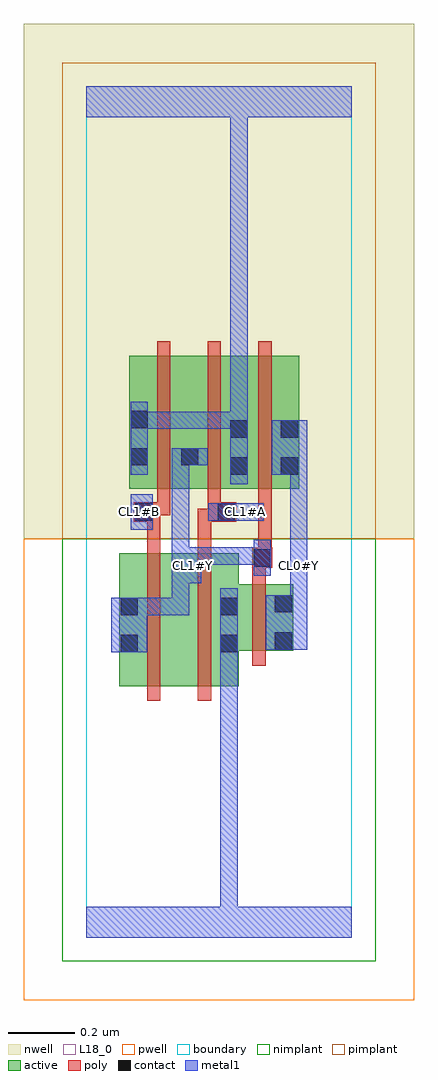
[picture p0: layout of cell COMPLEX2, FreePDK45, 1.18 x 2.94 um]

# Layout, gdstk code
import gdstk
lib = gdstk.Library(unit=1e-6, precision=1e-09)
def R(c, l, rs):  # rectangles x0, y0, x1, y1
    for r in rs: c.add(gdstk.rectangle(r[:2], r[2:], *l))
def A(c, l, x, y, w, h, nx, ny, dx, dy):  # array of equal rectangles
    R(c, l, [(x+i*dx, y+j*dy, x+i*dx+w, y+j*dy+h) for i in range(nx) for j in range(ny)])
active = (1, 0)
pwell = (2, 0)
nwell = (3, 0)
nimplant = (4, 0)
pimplant = (5, 0)
poly = (9, 0)
contact = (10, 0)
metal1 = (11, 0)
L18_0 = (18, 0)
boundary = (235, 0)

complex2 = lib.new_cell('COMPLEX2')
R(complex2, active, [(0.1,0.756,0.28,1.156), (0.1,0.756,0.16,1.156), (0.28,0.756,0.46,1.156), (0.4,0.756,0.46,1.026), (0.4,0.862,0.624,1.062), (0.564,0.862,0.624,1.062), (0.13,1.35,0.19,1.644), (0.13,1.35,0.342,1.75), (0.282,1.35,0.49,1.75), (0.43,1.35,0.49,1.644), (0.43,1.35,0.642,1.75), (0.582,1.35,0.642,1.644), (0.282,1.416,0.342,1.644)])
R(complex2, pwell, [(-0.188,-0.188,0.988,1.2)])
R(complex2, nwell, [(-0.188,1.2,0.988,2.748)])
R(complex2, nimplant, [(-0.072,-0.072,0.872,1.2)])
R(complex2, pimplant, [(-0.072,1.2,0.872,2.632)])
A(complex2, poly, 0.214, 1.306, 0.04, 0.488, 3, 1, 0.152, 0)
R(complex2, poly, [(0.184,0.712,0.224,1.2), (0.336,0.712,0.376,1.2), (0.5,0.818,0.54,1.106), (0.5,1.066,0.54,1.152), (0.5,1.112,0.56,1.172), (0.518,1.132,0.558,1.346), (0.518,1.132,0.558,1.172), (0.518,1.132,0.558,1.172), (0.184,1.16,0.224,1.29), (0.336,1.16,0.376,1.29), (0.144,1.25,0.224,1.31), (0.336,1.25,0.406,1.29), (0.366,1.25,0.406,1.29), (0.366,1.25,0.452,1.31), (0.184,1.27,0.224,1.31), (0.184,1.27,0.254,1.31), (0.214,1.27,0.254,1.346), (0.366,1.27,0.406,1.346)])
R(complex2, contact, [(0.104,0.858,0.156,0.91), (0.404,0.858,0.456,0.91), (0.568,0.866,0.62,0.918), (0.104,0.97,0.156,1.022), (0.404,0.97,0.456,1.022), (0.568,0.978,0.62,1.03), (0.504,1.116,0.556,1.168), (0.148,1.254,0.2,1.306), (0.396,1.254,0.448,1.306), (0.434,1.392,0.486,1.444), (0.586,1.392,0.638,1.444), (0.134,1.42,0.186,1.472), (0.286,1.42,0.338,1.472), (0.434,1.504,0.486,1.556), (0.586,1.504,0.638,1.556), (0.134,1.532,0.186,1.584)])
R(complex2, metal1, [(0,0,0.8,0.092), (0.404,0.04,0.456,0.092), (0.404,0.04,0.456,0.092), (0.404,0.04,0.456,0.882), (0.404,0.83,0.456,0.882), (0.404,0.83,0.456,0.882), (0.404,0.83,0.456,0.882), (0.404,0.83,0.456,0.882), (0.404,0.83,0.456,0.882), (0.404,0.83,0.456,0.882), (0.404,0.83,0.456,0.882), (0.404,0.83,0.456,0.882), (0.404,0.83,0.456,0.882), (0.404,0.83,0.456,0.882), (0.404,0.83,0.456,1.05), (0.076,0.858,0.184,1.022), (0.54,0.866,0.666,1.03), (0.132,0.97,0.31,1.022), (0.258,0.97,0.31,1.022), (0.258,0.97,0.31,1.022), (0.258,0.97,0.31,1.022), (0.258,0.97,0.31,1.118), (0.614,0.978,0.666,1.118), (0.258,1.066,0.346,1.174), (0.614,1.066,0.666,1.174), (0.504,1.088,0.556,1.196), (0.258,1.122,0.31,1.174), (0.258,1.122,0.31,1.174), (0.258,1.122,0.31,1.472), (0.294,1.122,0.42,1.174), (0.368,1.122,0.42,1.174), (0.368,1.122,0.456,1.174), (0.404,1.122,0.456,1.174), (0.404,1.122,0.556,1.174), (0.614,1.122,0.666,1.444), (0.134,1.226,0.2,1.334), (0.368,1.254,0.534,1.306), (0.434,1.364,0.486,1.584), (0.134,1.392,0.186,1.612), (0.558,1.392,0.666,1.556), (0.614,1.392,0.666,1.444), (0.614,1.392,0.666,1.444), (0.258,1.42,0.366,1.472), (0.134,1.53,0.186,1.582), (0.134,1.53,0.186,1.582), (0.134,1.53,0.346,1.582), (0.294,1.53,0.346,1.582), (0.294,1.53,0.42,1.582), (0.368,1.53,0.42,1.582), (0.368,1.53,0.486,1.582), (0.434,1.532,0.486,1.584), (0.434,1.532,0.486,1.584), (0.434,1.532,0.486,1.584), (0.434,1.532,0.486,1.584), (0.434,1.532,0.486,1.584), (0.434,1.532,0.486,1.584), (0.434,1.532,0.486,1.584), (0.434,1.532,0.486,1.584), (0.434,1.532,0.486,1.584), (0.434,1.532,0.486,1.584), (0.434,1.532,0.486,1.584), (0.434,1.532,0.486,1.584), (0.434,1.532,0.486,1.584), (0.434,1.532,0.486,1.584), (0.434,1.532,0.486,2.52), (0,2.468,0.8,2.56), (0.434,2.468,0.486,2.52), (0.434,2.468,0.486,2.52)])
R(complex2, L18_0, [(0,0,0.8,0.092), (0.404,0.04,0.456,0.092), (0.404,0.04,0.456,0.092), (0.404,0.04,0.456,0.882), (0.404,0.83,0.456,1.05), (0.404,0.83,0.456,0.882), (0.404,0.83,0.456,0.882), (0.404,0.83,0.456,0.882), (0.404,0.83,0.456,0.882), (0.404,0.83,0.456,0.882), (0.404,0.83,0.456,0.882), (0.404,0.83,0.456,0.882), (0.404,0.83,0.456,0.882), (0.404,0.83,0.456,0.882), (0.404,0.83,0.456,0.882), (0.076,0.858,0.184,1.022), (0.54,0.866,0.666,1.03), (0.132,0.97,0.31,1.022), (0.258,0.97,0.31,1.022), (0.258,0.97,0.31,1.022), (0.258,0.97,0.31,1.022), (0.258,0.97,0.31,1.118), (0.614,0.978,0.666,1.118), (0.258,1.066,0.346,1.174), (0.614,1.066,0.666,1.174), (0.504,1.088,0.556,1.196), (0.294,1.094,0.346,1.146), (0.614,1.094,0.666,1.146), (0.258,1.122,0.31,1.174), (0.258,1.122,0.31,1.174), (0.258,1.122,0.31,1.472), (0.294,1.122,0.42,1.174), (0.368,1.122,0.42,1.174), (0.368,1.122,0.456,1.174), (0.404,1.122,0.456,1.174), (0.404,1.122,0.556,1.174), (0.614,1.122,0.666,1.444), (0.134,1.226,0.2,1.334), (0.134,1.254,0.186,1.306), (0.368,1.254,0.534,1.306), (0.454,1.254,0.506,1.306), (0.434,1.364,0.486,1.584), (0.134,1.392,0.186,1.612), (0.558,1.392,0.666,1.556), (0.614,1.392,0.666,1.444), (0.614,1.392,0.666,1.444), (0.258,1.42,0.366,1.472), (0.134,1.53,0.186,1.582), (0.134,1.53,0.186,1.582), (0.134,1.53,0.346,1.582), (0.294,1.53,0.346,1.582), (0.294,1.53,0.42,1.582), (0.368,1.53,0.42,1.582), (0.368,1.53,0.486,1.582), (0.434,1.532,0.486,1.584), (0.434,1.532,0.486,1.584), (0.434,1.532,0.486,1.584), (0.434,1.532,0.486,1.584), (0.434,1.532,0.486,1.584), (0.434,1.532,0.486,1.584), (0.434,1.532,0.486,1.584), (0.434,1.532,0.486,1.584), (0.434,1.532,0.486,1.584), (0.434,1.532,0.486,1.584), (0.434,1.532,0.486,1.584), (0.434,1.532,0.486,1.584), (0.434,1.532,0.486,1.584), (0.434,1.532,0.486,1.584), (0.434,1.532,0.486,2.52), (0,2.468,0.8,2.56), (0.434,2.468,0.486,2.52), (0.434,2.468,0.486,2.52)])
R(complex2, boundary, [(0,0,0.8,2.56)])
complex2.add(gdstk.Label('CL0#Y', (0.64,1.12), layer=11, texttype=0))
complex2.add(gdstk.Label('CL1#A', (0.48,1.28), layer=11, texttype=0))
complex2.add(gdstk.Label('CL1#B', (0.16,1.28), layer=11, texttype=0))
complex2.add(gdstk.Label('CL1#Y', (0.32,1.12), layer=11, texttype=0))

lib.write_gds('COMPLEX2.gds')
